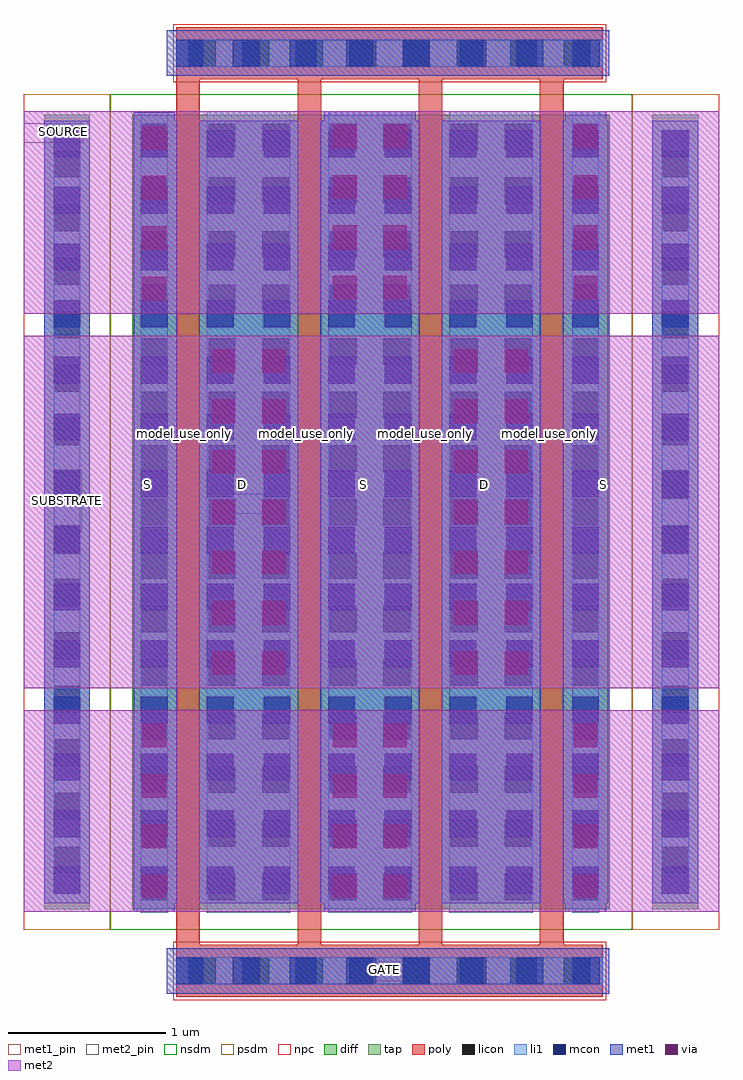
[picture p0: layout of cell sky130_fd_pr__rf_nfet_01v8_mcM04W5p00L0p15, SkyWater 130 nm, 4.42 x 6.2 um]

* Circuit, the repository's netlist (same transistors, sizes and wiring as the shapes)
* Copyright 2020 The SkyWater PDK Authors
*
* Licensed under the Apache License, Version 2.0 (the "License");
* you may not use this file except in compliance with the License.
* You may obtain a copy of the License at
*
*     https://www.apache.org/licenses/LICENSE-2.0
*
* Unless required by applicable law or agreed to in writing, software
* distributed under the License is distributed on an "AS IS" BASIS,
* WITHOUT WARRANTIES OR CONDITIONS OF ANY KIND, either express or implied.
* See the License for the specific language governing permissions and
* limitations under the License.
*
* SPDX-License-Identifier: Apache-2.0


.subckt sky130_fd_pr__rf_nfet_01v8_mcM04W5p00L0p15 DRAIN GATE SOURCE SUBSTRATE
X0 SOURCE GATE DRAIN SUBSTRATE sky130_fd_pr__nfet_01v8 w=5.05e+06u l=150000u
X1 DRAIN GATE SOURCE SUBSTRATE sky130_fd_pr__nfet_01v8 w=5.05e+06u l=150000u
X2 DRAIN GATE SOURCE SUBSTRATE sky130_fd_pr__nfet_01v8 w=5.05e+06u l=150000u
X3 SOURCE GATE DRAIN SUBSTRATE sky130_fd_pr__nfet_01v8 w=5.05e+06u l=150000u
.ends

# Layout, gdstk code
import gdstk
lib = gdstk.Library(unit=1e-6, precision=1e-09)
def R(c, l, rs):  # rectangles x0, y0, x1, y1
    for r in rs: c.add(gdstk.rectangle(r[:2], r[2:], *l))
def A(c, l, x, y, w, h, nx, ny, dx, dy):  # array of equal rectangles
    R(c, l, [(x+i*dx, y+j*dy, x+i*dx+w, y+j*dy+h) for i in range(nx) for j in range(ny)])
diff = (65, 20)
tap = (65, 44)
poly = (66, 20)
licon = (66, 44)
li1 = (67, 20)
mcon = (67, 44)
met1_pin = (68, 16)
met1 = (68, 20)
via = (68, 44)
met2_pin = (69, 16)
met2 = (69, 20)
nsdm = (93, 44)
psdm = (94, 20)
npc = (95, 20)

sky130_fd_pr__rf_nfet_01 = lib.new_cell('sky130_fd_pr__rf_nfet_01v8_mcM04W5p00L0p15')
R(sky130_fd_pr__rf_nfet_01, diff, [(0.69,0.575,3.725,5.625)])
R(sky130_fd_pr__rf_nfet_01, tap, [(0.13,0.575,0.42,5.625), (3.995,0.575,4.285,5.625)])
A(sky130_fd_pr__rf_nfet_01, poly, 0.97, 0.35, 0.15, 5.5, 4, 1, 0.77, 0)
R(sky130_fd_pr__rf_nfet_01, poly, [(0.97,0.02,3.68,0.35), (0.97,5.85,3.68,6.18)])
A(sky130_fd_pr__rf_nfet_01, licon, 1.05, 0.1, 0.17, 0.17, 8, 2, 0.34, 5.83)
A(sky130_fd_pr__rf_nfet_01, licon, 0.745, 0.635, 0.17, 0.17, 1, 15, 0, 0.34)
A(sky130_fd_pr__rf_nfet_01, licon, 1.175, 0.635, 0.17, 0.17, 1, 15, 0, 0.34)
A(sky130_fd_pr__rf_nfet_01, licon, 1.515, 0.635, 0.17, 0.17, 1, 15, 0, 0.34)
A(sky130_fd_pr__rf_nfet_01, licon, 1.945, 0.635, 0.17, 0.17, 1, 15, 0, 0.34)
A(sky130_fd_pr__rf_nfet_01, licon, 2.285, 0.635, 0.17, 0.17, 1, 15, 0, 0.34)
A(sky130_fd_pr__rf_nfet_01, licon, 2.715, 0.635, 0.17, 0.17, 1, 15, 0, 0.34)
A(sky130_fd_pr__rf_nfet_01, licon, 3.055, 0.635, 0.17, 0.17, 1, 15, 0, 0.34)
A(sky130_fd_pr__rf_nfet_01, licon, 3.485, 0.635, 0.17, 0.17, 1, 15, 0, 0.34)
A(sky130_fd_pr__rf_nfet_01, licon, 0.19, 0.805, 0.17, 0.17, 1, 14, 0, 0.34)
A(sky130_fd_pr__rf_nfet_01, licon, 4.055, 0.805, 0.17, 0.17, 1, 14, 0, 0.34)
A(sky130_fd_pr__rf_nfet_01, li1, 1.165, 0.555, 0.53, 5.09, 3, 1, 0.77, 0)
R(sky130_fd_pr__rf_nfet_01, li1, [(0.97,0.1,3.68,0.27), (0.97,0.1,3.66,0.27), (0.745,0.555,0.915,5.645), (3.485,0.555,3.655,5.645), (0.19,0.675,0.36,5.525), (4.055,0.675,4.225,5.525), (0.19,0.725,0.36,5.475), (4.055,0.725,4.225,5.475), (0.19,1.745,0.36,4.455), (4.055,1.745,4.225,4.455), (0.97,5.93,3.68,6.1), (0.97,5.93,3.66,6.1)])
A(sky130_fd_pr__rf_nfet_01, mcon, 0.97, 0.1, 0.17, 0.17, 8, 2, 0.36, 5.83)
A(sky130_fd_pr__rf_nfet_01, mcon, 0.19, 0.675, 0.17, 0.17, 1, 14, 0, 0.36)
A(sky130_fd_pr__rf_nfet_01, mcon, 0.745, 0.675, 0.17, 0.17, 1, 14, 0, 0.36)
A(sky130_fd_pr__rf_nfet_01, mcon, 1.165, 0.675, 0.17, 0.17, 1, 14, 0, 0.36)
A(sky130_fd_pr__rf_nfet_01, mcon, 1.525, 0.675, 0.17, 0.17, 1, 14, 0, 0.36)
A(sky130_fd_pr__rf_nfet_01, mcon, 1.935, 0.675, 0.17, 0.17, 1, 14, 0, 0.36)
A(sky130_fd_pr__rf_nfet_01, mcon, 2.295, 0.675, 0.17, 0.17, 1, 14, 0, 0.36)
A(sky130_fd_pr__rf_nfet_01, mcon, 2.705, 0.675, 0.17, 0.17, 1, 14, 0, 0.36)
A(sky130_fd_pr__rf_nfet_01, mcon, 3.065, 0.675, 0.17, 0.17, 1, 14, 0, 0.36)
A(sky130_fd_pr__rf_nfet_01, mcon, 3.485, 0.675, 0.17, 0.17, 1, 14, 0, 0.36)
A(sky130_fd_pr__rf_nfet_01, mcon, 4.055, 0.675, 0.17, 0.17, 1, 14, 0, 0.36)
R(sky130_fd_pr__rf_nfet_01, met1_pin, [(2.07,0.12,2.5,0.245), (0.195,2.97,0.37,3.37)])
A(sky130_fd_pr__rf_nfet_01, met1, 1.115, 0.615, 0.63, 4.97, 3, 1, 0.77, 0)
R(sky130_fd_pr__rf_nfet_01, met1, [(0.91,0.04,3.72,0.33), (1.63,0.05,2.87,0.32), (0.7,0.56,0.96,1.84), (1.91,0.56,2.49,1.84), (3.44,0.56,3.7,1.84), (0.13,0.615,0.42,5.585), (0.7,0.615,0.975,5.585), (3.425,0.615,3.715,5.585), (3.995,0.615,4.285,5.585), (1.14,1.98,1.72,4.22), (2.68,1.98,3.26,4.22), (0.7,4.36,0.96,5.64), (1.91,4.365,2.49,5.645), (3.44,4.365,3.7,5.645), (0.91,5.87,3.72,6.16)])
A(sky130_fd_pr__rf_nfet_01, via, 0.755, 0.645, 0.15, 0.15, 1, 4, 0, 0.32)
A(sky130_fd_pr__rf_nfet_01, via, 1.965, 0.645, 0.15, 0.15, 1, 4, 0, 0.32)
A(sky130_fd_pr__rf_nfet_01, via, 2.285, 0.645, 0.15, 0.15, 1, 4, 0, 0.32)
A(sky130_fd_pr__rf_nfet_01, via, 3.495, 0.645, 0.15, 0.15, 1, 4, 0, 0.32)
A(sky130_fd_pr__rf_nfet_01, via, 1.195, 2.065, 0.15, 0.15, 1, 7, 0, 0.32)
A(sky130_fd_pr__rf_nfet_01, via, 1.515, 2.065, 0.15, 0.15, 1, 7, 0, 0.32)
A(sky130_fd_pr__rf_nfet_01, via, 2.735, 2.065, 0.15, 0.15, 1, 7, 0, 0.32)
A(sky130_fd_pr__rf_nfet_01, via, 3.055, 2.065, 0.15, 0.15, 1, 7, 0, 0.32)
A(sky130_fd_pr__rf_nfet_01, via, 0.755, 4.445, 0.15, 0.15, 1, 4, 0, 0.32)
A(sky130_fd_pr__rf_nfet_01, via, 1.965, 4.45, 0.15, 0.15, 1, 4, 0, 0.32)
A(sky130_fd_pr__rf_nfet_01, via, 2.285, 4.45, 0.15, 0.15, 1, 4, 0, 0.32)
A(sky130_fd_pr__rf_nfet_01, via, 3.495, 4.45, 0.15, 0.15, 1, 4, 0, 0.32)
R(sky130_fd_pr__rf_nfet_01, met2_pin, [(1.165,3.09,1.545,3.215), (0,5.445,0.38,5.57)])
R(sky130_fd_pr__rf_nfet_01, met2, [(0,0.56,4.42,1.84), (0.7,0.56,0.96,1.84), (1.91,0.56,2.49,1.84), (3.44,0.56,3.7,1.84), (0,1.98,4.42,4.22), (1.14,1.98,1.72,4.22), (2.68,1.98,3.26,4.22), (0,4.36,4.42,5.645), (0.7,4.36,0.96,5.64), (1.91,4.365,2.49,5.645), (3.44,4.365,3.7,5.645)])
R(sky130_fd_pr__rf_nfet_01, nsdm, [(0.55,0.445,3.865,5.755)])
R(sky130_fd_pr__rf_nfet_01, psdm, [(0,0.445,0.55,5.755), (3.865,0.445,4.42,5.755)])
R(sky130_fd_pr__rf_nfet_01, npc, [(0.95,0,3.7,0.37), (0.95,5.83,3.7,6.2)])
sky130_fd_pr__rf_nfet_01.add(gdstk.Label('model_use_only', (1.02,3.6), layer=66, texttype=83))
sky130_fd_pr__rf_nfet_01.add(gdstk.Label('model_use_only', (1.795,3.6), layer=66, texttype=83))
sky130_fd_pr__rf_nfet_01.add(gdstk.Label('model_use_only', (2.555,3.6), layer=66, texttype=83))
sky130_fd_pr__rf_nfet_01.add(gdstk.Label('model_use_only', (3.34,3.6), layer=66, texttype=83))
sky130_fd_pr__rf_nfet_01.add(gdstk.Label('S', (3.685,3.275), layer=83, texttype=44))
sky130_fd_pr__rf_nfet_01.add(gdstk.Label('D', (1.39,3.275), layer=83, texttype=44))
sky130_fd_pr__rf_nfet_01.add(gdstk.Label('D', (2.93,3.275), layer=83, texttype=44))
sky130_fd_pr__rf_nfet_01.add(gdstk.Label('S', (2.16,3.275), layer=83, texttype=44))
sky130_fd_pr__rf_nfet_01.add(gdstk.Label('S', (0.79,3.275), layer=83, texttype=44))
sky130_fd_pr__rf_nfet_01.add(gdstk.Label('GATE', (2.29,0.195), layer=68, texttype=16))
sky130_fd_pr__rf_nfet_01.add(gdstk.Label('SOURCE', (0.255,5.515), layer=69, texttype=16))
sky130_fd_pr__rf_nfet_01.add(gdstk.Label('DRAIN', (1.355,3.21), layer=69, texttype=16))
sky130_fd_pr__rf_nfet_01.add(gdstk.Label('SUBSTRATE', (0.28,3.17), layer=68, texttype=5))

lib.write_gds('sky130_fd_pr__rf_nfet_01v8_mcM04W5p00L0p15.gds')
